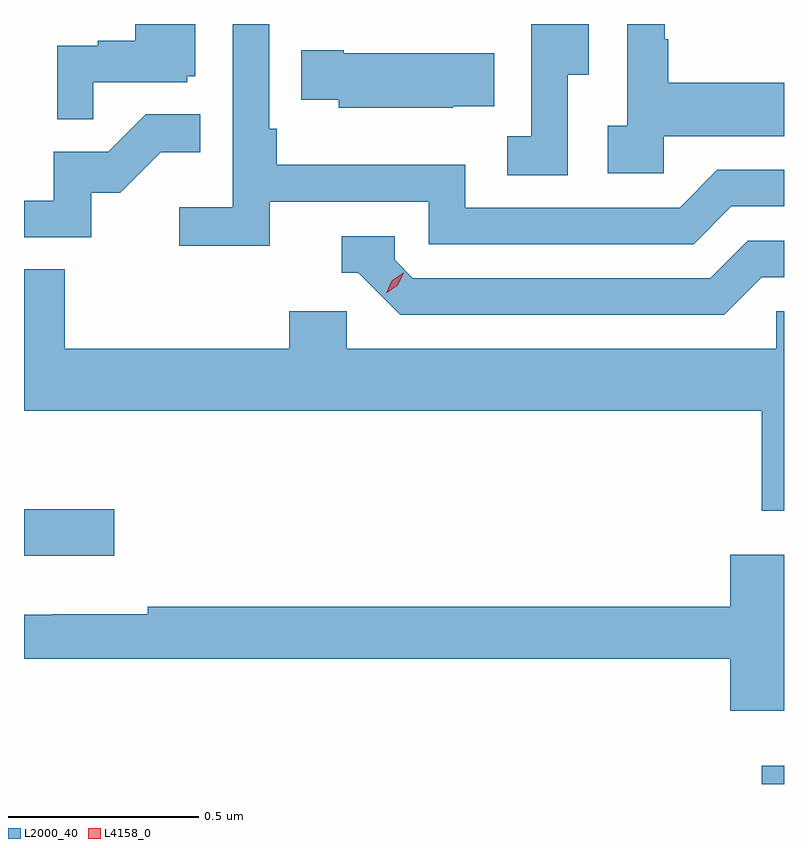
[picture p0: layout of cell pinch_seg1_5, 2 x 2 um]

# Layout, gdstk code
import gdstk
lib = gdstk.Library(unit=1e-6, precision=1e-09)
def R(c, l, rs):  # rectangles x0, y0, x1, y1
    for r in rs: c.add(gdstk.rectangle(r[:2], r[2:], *l))
def P(c, l, *ps):  # polygons
    for p in ps: c.add(gdstk.Polygon(p, *l))
L2000_40 = (2000, 40)
L4158_0 = (4158, 0)

pinch_seg1_5 = lib.new_cell('pinch_seg1_5')
R(pinch_seg1_5, L2000_40, [(1108.495,572.062,1108.553,572.11), (1106.553,572.663,1106.791,572.785)])
P(pinch_seg1_5, L2000_40, [(1107.2,573.594),(1107.618,573.594),(1107.618,573.483),(1108.315,573.483),(1108.414,573.582),(1108.553,573.582),(1108.553,573.678),(1108.377,573.678),(1108.278,573.579),(1107.714,573.579),(1107.714,573.691),(1107.218,573.691),(1107.218,573.787),(1107.198,573.787),(1107.198,574.062),(1107.102,574.062),(1107.102,573.58),(1106.961,573.58),(1106.961,573.478),(1107.2,573.478)],
  [(1106.735,573.909),(1106.982,573.909),(1106.982,573.924),(1107.004,573.924),(1107.004,574.062),(1106.846,574.062),(1106.846,574.018),(1106.747,574.018),(1106.747,574.005),(1106.64,574.005),(1106.64,573.811),(1106.735,573.811)],
  [(1107.984,573.928),(1108.039,573.928),(1108.039,574.062),(1107.888,574.062),(1107.888,573.767),(1107.825,573.767),(1107.825,573.664),(1107.984,573.664)],
  [(1108.236,573.767),(1108.553,573.767),(1108.553,573.907),(1108.249,573.907),(1108.249,574.022),(1108.239,574.022),(1108.239,574.062),(1108.14,574.062),(1108.14,573.794),(1108.089,573.794),(1108.089,573.669),(1108.236,573.669)],
  [(1107.683,573.845),(1107.791,573.845),(1107.791,573.985),(1107.394,573.985),(1107.394,573.993),(1107.283,573.993),(1107.283,573.863),(1107.381,573.863),(1107.381,573.842),(1107.683,573.842)],
  [(1106.73,573.618),(1106.806,573.618),(1106.913,573.725),(1107.017,573.725),(1107.017,573.824),(1106.873,573.824),(1106.775,573.726),(1106.631,573.726),(1106.631,573.597),(1106.553,573.597),(1106.553,573.501),(1106.73,573.501)],
  [(1108.495,573.396),(1108.553,573.396),(1108.553,573.492),(1108.458,573.492),(1108.359,573.393),(1107.576,573.393),(1107.528,573.441),(1107.528,573.504),(1107.389,573.504),(1107.389,573.408),(1107.432,573.408),(1107.543,573.297),(1108.396,573.297)],
  [(1108.553,573.306),(1108.533,573.306),(1108.533,573.208),(1107.402,573.208),(1107.402,573.306),(1107.251,573.306),(1107.251,573.208),(1106.66,573.208),(1106.66,573.416),(1106.553,573.416),(1106.553,573.044),(1108.495,573.044),(1108.495,572.781),(1108.553,572.781)],
  [(1108.553,572.665),(1108.412,572.665),(1108.412,572.528),(1106.878,572.528),(1106.878,572.509),(1106.626,572.509),(1106.626,572.508),(1106.553,572.508),(1106.553,572.392),(1108.412,572.392),(1108.412,572.255),(1108.553,572.255)])
P(pinch_seg1_5, L4158_0, [(1107.506,573.354),(1107.506,573.354),(1107.521,573.387),(1107.551,573.407),(1107.552,573.407),(1107.552,573.407),(1107.536,573.374),(1107.506,573.354)])

lib.write_gds('pinch_seg1_5.gds')
